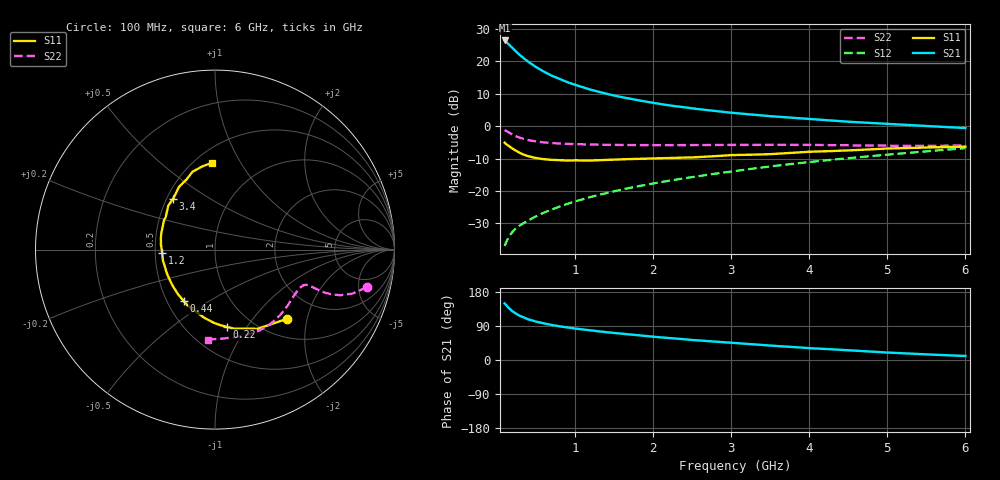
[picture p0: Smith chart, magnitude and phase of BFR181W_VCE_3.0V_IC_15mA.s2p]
! Infineon Technologies  Discrete & RF Semiconductors
! BFR181W
! VCE =  3.0 V,  IC =  15 mA
! Common Emitter S-Parameters:  Nov 2015
# GHz  S  MA  R  50
!  f  S11  S21  S12  S22
! GHz  MAG  ANG  MAG  ANG  MAG  ANG  MAG  ANG
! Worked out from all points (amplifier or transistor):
!   192 points, 100 MHz to 6 GHz, reference 50 ohm
!   highest |S21| = 26.5 dB at 100 MHz (marker M1)
!   |S21| within 3 dB of that: start of sweep to 228.4 MHz
!   unconditionally stable (mu >= 1): 637.8 MHz to 2.95 GHz
!   at 440 MHz: K = 0.87, MSG = 24.0 dB, |S12| = -28.6 dB
!   at 1.7 GHz: K = 1.12, MAG = 11.7 dB, |S12| = -19.1 dB
!   at 6 GHz: K = 0.79, MSG = 3.1 dB, |S12| = -6.8 dB
!   S11 on the Smith chart (normalised r, x): 100 MHz: 1.36, -1.52; 220 MHz: 0.77, -0.81; 440 MHz: 0.61, -0.39; 1.2 GHz: 0.55, -0.02; 3.4 GHz: 0.54, +0.35; 6 GHz: 0.60, +0.76
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0.1  0.5569 -43.8  21.11 149.3  0.014 72.2  0.8717 -13.9
0.15  0.5012 -61.7  18.52 137.6  0.0193 67.9  0.8033 -17.8
0.2  0.4533 -76.5  16.13 128.5  0.0232 65.4  0.7436 -20.0
0.22  0.4355 -81.2  15.29 126.0  0.0246 64.5  0.724 -20.4
0.24  0.421 -86.3  14.48 123.1  0.0261 63.8  0.7045 -20.8
0.26  0.4079 -90.9  13.74 120.6  0.0273 63.4  0.6877 -21.1
0.3  0.3844 -99.0  12.41 115.9  0.0295 63.2  0.6596 -21.4
0.4  0.3457 -116.6  9.932 107.3  0.0348 63.9  0.6096 -21.3
0.44  0.3346 -121.6  9.236 105.2  0.037 64.5  0.5979 -21.2
0.5  0.3231 -129.7  8.22 101.3  0.0403 65.2  0.5804 -21.0
0.6  0.3097 -140.1  6.992 96.5  0.046 66.7  0.5608 -21.0
0.7  0.3022 -148.9  6.056 92.4  0.0512 68.2  0.5487 -21.0
0.9  0.2944 -162.2  4.79 85.9  0.0629 70.3  0.533 -21.8
1.1  0.2946 -172.3  4.006 80.7  0.0746 71.7  0.5239 -23.2
1.2  0.2944 -176.7  3.665 78.0  0.0805 72.1  0.5198 -24.0
1.58  0.3069 169.5  2.842 69.6  0.1036 73.3  0.5122 -27.5
2.08  0.3192 155.8  2.215 60.1  0.1354 73.5  0.5093 -33.2
3.1  0.3591 135.1  1.575 43.9  0.2068 71.7  0.5146 -46.9
3.4  0.3666 130.0  1.463 39.7  0.2306 70.6  0.5156 -51.6
4.1  0.4058 118.4  1.268 30.3  0.2873 66.9  0.5121 -62.7
5.1  0.4544 104.6  1.072 18.8  0.3719 60.7  0.499 -79.8
6  0.4839 92.2  0.936 10.6  0.4577 54.2  0.5026 -94.7
